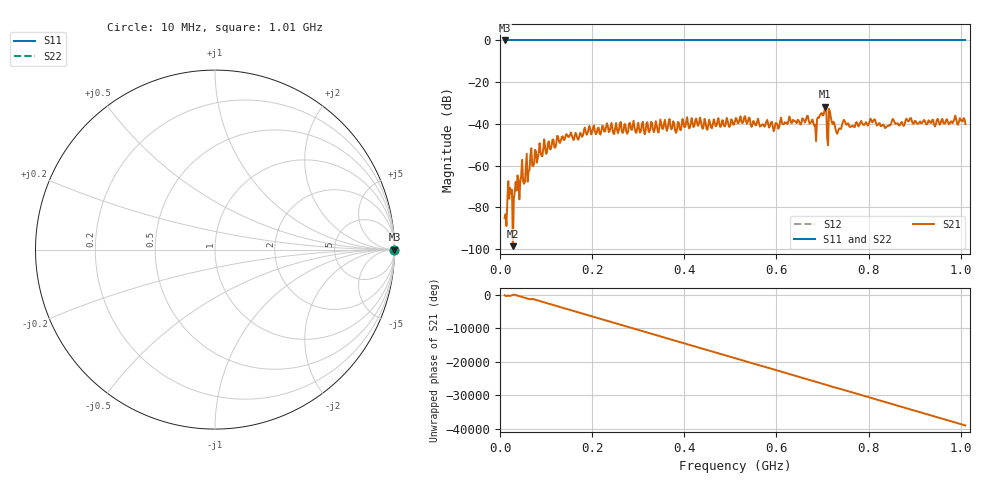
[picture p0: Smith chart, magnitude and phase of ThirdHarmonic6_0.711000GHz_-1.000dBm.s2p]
! 8/15/2025 11:46:29 PM
! C:\ANRITSUVNA\TEMP\TEMP.S2P
! CHANNEL.1
! TR.MEASUREMENT
! RAW.DATA
! RF.CORRECTION.OFF
! AVERAGING.OFF
! IF.BANDWIDTH: 5KHZ
! SWEEPTYPE:  FREQ.SWEEP(Linear)
! Reference Plane Port Info
! PORT:  PORT1  PORT2
! DISTANCE:  0  m  0  m
! TIME:  0  s  0  s
! PHASE.OFFSET:  0  deg.  0  deg.
! LOSS:  0  dB  0  dB
! REF.LOSS:  0  dB  0  dB
! REF.FREQ:  0  Hz  0  Hz
! Power Info
! POWER:  -20  dBm  -20  dBm
! EFF.POWER:  -20  dBm  -20  dBm
! SOURCE.ATTEN:  0  dB  0  dB
! TEST.ATTEN:  0  dB  0  dB
# GHZ S RI R 50.0
! FREQ.GHZ  S11RE  S11IM  S21RE  S21IM  S12RE  S12IM  S22RE  S22IM
!; PortSelection: Port_12
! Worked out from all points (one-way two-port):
!   501 points, 10 MHz to 1.01 GHz, reference 50 ohm
!   highest |S21| = -31.77 dB at 706 MHz (marker M1); lowest = -98.6 dB at 28 MHz (marker M2)
!   lowest |S11| = 0.0 dB at 10 MHz (marker M3)
!   |S11| at or under -10 dB: nowhere
!   |S22| runs from 0.0 to 0.0 dB; largest |S21 - S12| = 1
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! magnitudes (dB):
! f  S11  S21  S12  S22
! 10 MHz  0.0  -85.2  0.0  0.0
! 22 MHz  0.0  -70.6  0.0  0.0
! 28 MHz  0.0  -98.6  0.0  0.0
! 36 MHz  0.0  -71.9  0.0  0.0
! 82 MHz  0.0  -56.3  0.0  0.0
! 128 MHz  0.0  -48.4  0.0  0.0
! 178 MHz  0.0  -46.1  0.0  0.0
! 344 MHz  0.0  -44.2  0.0  0.0
! 510 MHz  0.0  -38.7  0.0  0.0
! 596 MHz  0.0  -42.1  0.0  0.0
! 678 MHz  0.0  -37.8  0.0  0.0
! 684 MHz  0.0  -40.4  0.0  0.0
! 694 MHz  0.0  -35.9  0.0  0.0
! 704 MHz  0.0  -34.0  0.0  0.0
! 706 MHz  0.0  -31.8  0.0  0.0
! 714 MHz  0.0  -32.7  0.0  0.0
! 718 MHz  0.0  -36.9  0.0  0.0
! 732 MHz  0.0  -44.7  0.0  0.0
! 748 MHz  0.0  -38.6  0.0  0.0
! 844 MHz  0.0  -40.6  0.0  0.0
! 888 MHz  0.0  -38.4  0.0  0.0
! 1.01 GHz  0.0  -40.1  0.0  0.0
